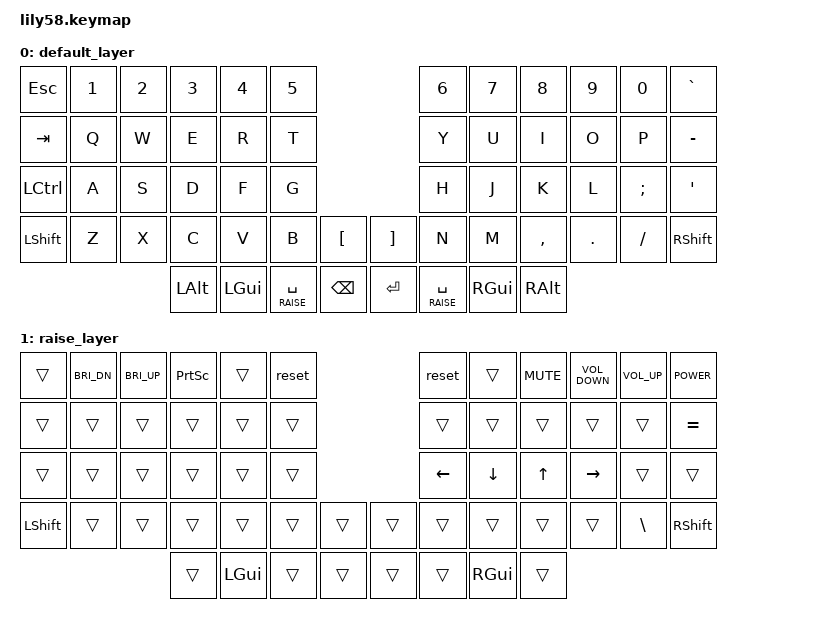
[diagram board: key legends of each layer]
/*
 * Copyright (c) 2020 The ZMK Contributors
 *
 * SPDX-License-Identifier: MIT
 */

#include <behaviors.dtsi>
#include <dt-bindings/zmk/keys.h>

#define DEFAULT 0
#define RAISE 1

/ {
	keymap {
		compatible = "zmk,keymap";

		// Default Layer
		default_layer {
            /*
				,-----------------------------------------.                    ,-----------------------------------------.
				| ESC  |   1  |   2  |   3  |   4  |   5  |                    |   6  |   7  |   8  |   9  |   0  |  `   |
				|------+------+------+------+------+------|                    |------+------+------+------+------+------|
				| Tab  |   Q  |   W  |   E  |   R  |   T  |                    |   Y  |   U  |   I  |   O  |   P  |  -   |
				|------+------+------+------+------+------|                    |------+------+------+------+------+------|
				|LCTRL |   A  |   S  |   D  |   F  |   G  |-------.    ,-------|   H  |   J  |   K  |   L  |   ;  |  '   |
				|------+------+------+------+------+------|   [   |    |    ]  |------+------+------+------+------+------|
				|LShift|   Z  |   X  |   C  |   V  |   B  |-------|    |-------|   N  |   M  |   ,  |   .  |   /  | RSHFT|
				`-----------------------------------------/       /     \      \-----------------------------------------'
								  | LAlt | LGUI |RAISE | /BackSP /       \/Enter\  |RAISE |RGUI | RAlt |
								  |      |      |Space |/       /         \      \ |Space |     |      |
								  `----------------------------'           '------''--------------------'
            */
			bindings = <
				&kp ESC   &kp N1 &kp N2 &kp N3   &kp N4   &kp N5                                   &kp N6  &kp N7   &kp N8    &kp N9  &kp N0   &kp GRAVE
				&kp TAB   &kp Q  &kp W  &kp E    &kp R    &kp T                                    &kp Y   &kp U    &kp I     &kp O   &kp P    &kp MINUS
				&kp LCTRL &kp A  &kp S  &kp D    &kp F    &kp G                                    &kp H   &kp J    &kp K     &kp L   &kp SEMI &kp SQT
                &kp LSHFT &kp Z  &kp X  &kp C    &kp V    &kp B    &kp LBKT        &kp RBKT        &kp N   &kp M    &kp COMMA &kp DOT &kp FSLH &kp RSHFT
										&kp LALT &kp LGUI &lt RAISE SPACE &kp BSPC &kp RET &lt RAISE SPACE &kp RGUI &kp RALT
			>;
		};

		// Raise Layer
		raise_layer {
            /*
				,-----------------------------------------.                    ,-----------------------------------------.
				|      |     |     |     |     |     |                    |     |      |     |     |     |     |
				|------+------+------+------+------+------|                    |------+------+------+------+------+------|
				|      |      |      |      |      |      |                    |      |      |      |      |      |  =   |
				|------+------+------+------+------+------|                    |------+------+------+------+------+------|
				|      |      |      |      |      |      |-------.    ,-------|     |     |     |     |      |      |
				|------+------+------+------+------+------|       |    |       |------+------+------+------+------+------|
				|LShift|      |      |      |      |      |-------|    |-------|      |      |      |      |   \  | RSHFT|
				`-----------------------------------------/       /     \      \-----------------------------------------'
								  |      | LGUI |      | /       /       \      \  |      |RGUI  |      |
								  |      |      |      |/       /         \      \ |      |      |      |
								  `----------------------------'           '------''--------------------'
           */
			bindings = <
			    &trans  &kp C_BRI_DN &kp C_BRI_UP &kp PRINTSCREEN &trans &reset      &reset &trans  &kp K_MUTE &kp C_VOLUME_DOWN &kp C_VOLUME_UP &kp K_POWER
			    &trans  &trans  &trans  &trans  &trans  &trans                       &trans  &trans  &trans  &trans  &trans  &kp EQUAL
			    &trans  &trans  &trans  &trans  &trans  &trans                       &kp LEFT_ARROW &kp DOWN_ARROW &kp UP_ARROW &kp RIGHT_ARROW &trans  &trans
			    &kp LSHFT &trans  &trans  &trans  &trans  &trans   &trans   &trans   &trans  &trans  &trans  &trans  &kp BACKSLASH &kp RSHFT
										&trans  &kp LGUI  &trans   &trans   &trans   &trans  &kp RGUI  &trans
			>;
		};
	};
};
